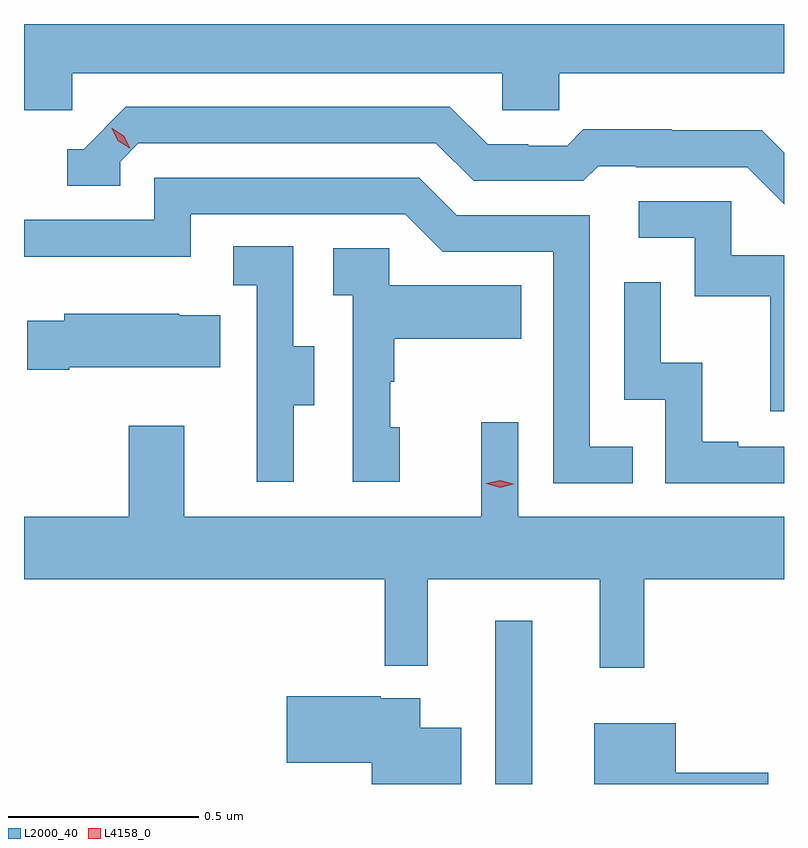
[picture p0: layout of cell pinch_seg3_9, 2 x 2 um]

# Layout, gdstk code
import gdstk
lib = gdstk.Library(unit=1e-6, precision=1e-09)
def R(c, l, rs):  # rectangles x0, y0, x1, y1
    for r in rs: c.add(gdstk.rectangle(r[:2], r[2:], *l))
def P(c, l, *ps):  # polygons
    for p in ps: c.add(gdstk.Polygon(p, *l))
L2000_40 = (2000, 40)
L4158_0 = (4158, 0)

pinch_seg3_9 = lib.new_cell('pinch_seg3_9')
R(pinch_seg3_9, L2000_40, [(1126.719,739.005,1126.816,739.435)])
P(pinch_seg3_9, L2000_40, [(1125.606,740.876),(1126.737,740.876),(1126.737,740.778),(1126.887,740.778),(1126.887,740.876),(1127.479,740.876),(1127.479,741.005),(1125.479,741.005),(1125.479,740.778),(1125.606,740.778)],
  [(1127.479,740.666),(1127.42,740.725),(1127.184,740.725),(1127.184,740.728),(1126.951,740.728),(1126.909,740.685),(1126.806,740.685),(1126.806,740.688),(1126.699,740.688),(1126.6,740.787),(1125.747,740.787),(1125.636,740.676),(1125.593,740.676),(1125.593,740.58),(1125.732,740.58),(1125.732,740.643),(1125.78,740.691),(1126.563,740.691),(1126.662,740.592),(1126.951,740.592),(1126.99,740.631),(1127.089,740.631),(1127.089,740.628),(1127.382,740.628),(1127.479,740.531)],
  [(1127.081,739.893),(1126.968,739.893),(1126.968,740.502),(1126.618,740.502),(1126.519,740.601),(1125.822,740.601),(1125.822,740.49),(1125.479,740.49),(1125.479,740.393),(1125.918,740.393),(1125.918,740.505),(1126.482,740.505),(1126.581,740.406),(1126.872,740.406),(1126.872,739.797),(1127.081,739.797)],
  [(1127.479,740.397),(1127.34,740.397),(1127.34,740.538),(1127.097,740.538),(1127.097,740.442),(1127.244,740.442),(1127.244,740.289),(1127.443,740.289),(1127.443,739.986),(1127.479,739.986)],
  [(1126.189,740.002),(1126.243,740.002),(1126.243,740.157),(1126.188,740.157),(1126.188,740.42),(1126.029,740.42),(1126.029,740.317),(1126.092,740.317),(1126.092,740.013),(1126.091,740.013),(1126.091,739.8),(1126.189,739.8)],
  [(1126.468,739.944),(1126.443,739.944),(1126.443,740.063),(1126.453,740.063),(1126.453,740.177),(1126.787,740.177),(1126.787,740.317),(1126.44,740.317),(1126.44,740.415),(1126.293,740.415),(1126.293,740.291),(1126.344,740.291),(1126.344,739.8),(1126.468,739.8)],
  [(1127.479,739.893),(1127.359,739.893),(1127.359,739.906),(1127.264,739.906),(1127.264,740.114),(1127.154,740.114),(1127.154,740.326),(1127.058,740.326),(1127.058,740.016),(1127.166,740.016),(1127.166,739.797),(1127.479,739.797)],
  [(1125.598,740.102),(1125.995,740.102),(1125.995,740.239),(1125.887,740.239),(1125.887,740.242),(1125.585,740.242),(1125.585,740.224),(1125.487,740.224),(1125.487,740.095),(1125.598,740.095)],
  [(1127.111,739.544),(1127.479,739.544),(1127.479,739.708),(1126.779,739.708),(1126.779,739.957),(1126.682,739.957),(1126.682,739.708),(1125.901,739.708),(1125.901,739.948),(1125.754,739.948),(1125.754,739.708),(1125.479,739.708),(1125.479,739.544),(1126.428,739.544),(1126.428,739.316),(1126.541,739.316),(1126.541,739.544),(1126.994,739.544),(1126.994,739.311),(1127.111,739.311)],
  [(1126.63,739.153),(1126.522,739.153),(1126.522,739.231),(1126.418,739.231),(1126.418,739.236),(1126.17,739.236),(1126.17,739.061),(1126.394,739.061),(1126.394,739.005),(1126.63,739.005)],
  [(1127.437,739.034),(1127.194,739.034),(1127.194,739.165),(1126.979,739.165),(1126.979,739.005),(1127.437,739.005)])
P(pinch_seg3_9, L4158_0, [(1126.732,739.785),(1126.696,739.795),(1126.696,739.795),(1126.696,739.796),(1126.732,739.805),(1126.767,739.795),(1126.767,739.794),(1126.767,739.794)],
  [(1125.757,740.678),(1125.726,740.698),(1125.71,740.73),(1125.71,740.731),(1125.711,740.731),(1125.741,740.711),(1125.758,740.678),(1125.758,740.678)])

lib.write_gds('pinch_seg3_9.gds')
